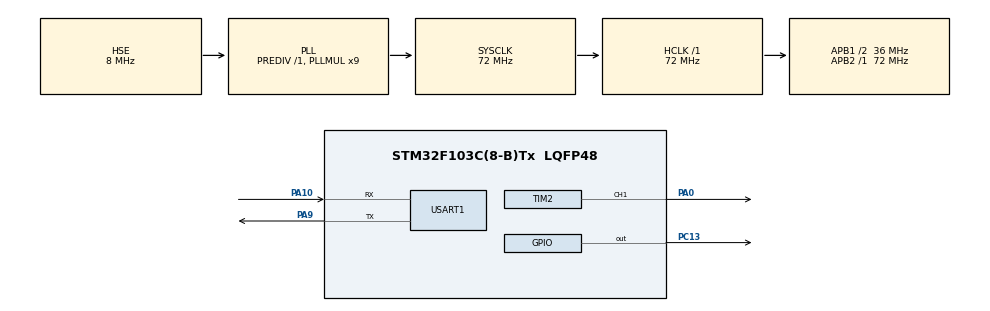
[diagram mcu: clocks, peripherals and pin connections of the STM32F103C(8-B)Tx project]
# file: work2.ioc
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Dma.Request0=USART1_RX
Dma.Request1=USART1_TX
Dma.USART1_RX.0.Direction=DMA_PERIPH_TO_MEMORY
Dma.USART1_RX.0.Instance=DMA1_Channel5
Dma.USART1_RX.0.MemDataAlignment=DMA_MDATAALIGN_BYTE
Dma.USART1_RX.0.MemInc=DMA_MINC_ENABLE
Dma.USART1_RX.0.Mode=DMA_NORMAL
Dma.USART1_RX.0.PeriphDataAlignment=DMA_PDATAALIGN_BYTE
Dma.USART1_RX.0.PeriphInc=DMA_PINC_DISABLE
Dma.USART1_RX.0.Priority=DMA_PRIORITY_LOW
Dma.USART1_TX.1.Direction=DMA_MEMORY_TO_PERIPH
Dma.USART1_TX.1.Instance=DMA1_Channel4
Dma.USART1_TX.1.MemDataAlignment=DMA_MDATAALIGN_BYTE
Dma.USART1_TX.1.MemInc=DMA_MINC_ENABLE
Dma.USART1_TX.1.Mode=DMA_NORMAL
Dma.USART1_TX.1.PeriphDataAlignment=DMA_PDATAALIGN_BYTE
Dma.USART1_TX.1.PeriphInc=DMA_PINC_DISABLE
Dma.USART1_TX.1.Priority=DMA_PRIORITY_LOW
Mcu.Family=STM32F1
Mcu.Name=STM32F103C(8-B)Tx
Mcu.Package=LQFP48
NVIC.DMA1_Channel4_IRQn=true\:0\:0\:false\:false\:true\:false\:true\:true
NVIC.DMA1_Channel5_IRQn=true\:0\:0\:false\:false\:true\:false\:true\:true
NVIC.PriorityGroup=NVIC_PRIORITYGROUP_4
NVIC.USART1_IRQn=true\:0\:0\:false\:false\:true\:false\:true\:true
PA0-WKUP.Signal=S_TIM2_CH1_ETR
PA10.Mode=Asynchronous
PA10.Signal=USART1_RX
PA13.Mode=Serial_Wire
PA13.Signal=SYS_JTMS-SWDIO
PA14.Mode=Serial_Wire
PA14.Signal=SYS_JTCK-SWCLK
PA9.Mode=Asynchronous
PA9.Signal=USART1_TX
PC13-TAMPER-RTC.Signal=GPIO_Output
PD0-OSC_IN.Mode=HSE-External-Oscillator
PD0-OSC_IN.Signal=RCC_OSC_IN
PD1-OSC_OUT.Mode=HSE-External-Oscillator
PD1-OSC_OUT.Signal=RCC_OSC_OUT
ProjectManager.HeapSize=0x200
ProjectManager.StackSize=0x400
ProjectManager.TargetToolchain=MDK-ARM V5.32
RCC.AHBFreq_Value=72000000
RCC.APB1CLKDivider=RCC_HCLK_DIV2
RCC.APB1Freq_Value=36000000
RCC.APB1TimFreq_Value=72000000
RCC.APB2Freq_Value=72000000
RCC.APB2TimFreq_Value=72000000
RCC.HCLKFreq_Value=72000000
RCC.PLLMUL=RCC_PLL_MUL9
RCC.PLLSourceVirtual=RCC_PLLSOURCE_HSE
RCC.SYSCLKFreq_VALUE=72000000
RCC.SYSCLKSource=RCC_SYSCLKSOURCE_PLLCLK
RCC.USBFreq_Value=72000000
SH.S_TIM2_CH1_ETR.0=TIM2_CH1,PWM Generation1 CH1
TIM2.Channel-PWM\ Generation1\ CH1=TIM_CHANNEL_1
TIM2.Period=20000
TIM2.Prescaler=71
TIM2.Pulse-PWM\ Generation1\ CH1=1500
USART1.VirtualMode=VM_ASYNC
board=custom

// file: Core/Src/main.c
/* USER CODE BEGIN Header */
/**
  ******************************************************************************
  * @file           : main.c
  * @brief          : Main program body
  ******************************************************************************
  * @attention
  *
  * Copyright (c) 2025 STMicroelectronics.
  * All rights reserved.
  *
  * This software is licensed under terms that can be found in the LICENSE file
  * in the root directory of this software component.
  * If no LICENSE file comes with this software, it is provided AS-IS.
  *
  ******************************************************************************
  */
/* USER CODE END Header */
#include "main.h"
#include "dma.h"
#include "tim.h"
#include "usart.h"
#include "gpio.h"

/* USER CODE BEGIN Includes */
#include <string.h>
#include <stdlib.h>
#include <stdint.h>
#include <stdio.h>
#include "Servo.h"
/* USER CODE END Includes */

/* USER CODE BEGIN PV */
uint8_t currentAngle = 0;
#define RX_LEN 7
uint8_t RxData[RX_LEN];
void Servo_SetAngle(uint8_t angle);
char msg[20];

#define TX_BUF_LEN 20
uint8_t TxData[TX_BUF_LEN];
uint8_t uart_tx_busy = 0;  // 串口DMA是否忙
/* USER CODE END PV */

void SystemClock_Config(void);

int main(void)
{

  /* MCU Configuration--------------------------------------------------------*/

  /* Reset of all peripherals, Initializes the Flash interface and the Systick. */
  HAL_Init();

  /* Configure the system clock */
  SystemClock_Config();

  /* Initialize all configured peripherals */
  MX_GPIO_Init();
  MX_DMA_Init();
  MX_USART1_UART_Init();
  MX_TIM2_Init();
  /* USER CODE BEGIN 2 */
	HAL_UART_Receive_DMA(&huart1, RxData, RX_LEN);
	HAL_TIM_PWM_Start(&htim2, TIM_CHANNEL_1);
  /* USER CODE END 2 */

  /* Infinite loop */
  /* USER CODE BEGIN WHILE */
  while (1)
  {

     if (uart_tx_busy == 0)
    {
        int len = sprintf((char*)TxData, "ANGLE:%d\r\n", currentAngle);
        uart_tx_busy = 1;  // 设置为忙，等发送完成后再清0
        HAL_UART_Transmit_DMA(&huart1, TxData, len);
    }

    HAL_Delay(100);  // 每100ms尝试发送

    /* USER CODE END WHILE */

  }
}

void SystemClock_Config(void)
{
  RCC_OscInitTypeDef RCC_OscInitStruct = {0};
  RCC_ClkInitTypeDef RCC_ClkInitStruct = {0};

  /** Initializes the RCC Oscillators according to the specified parameters
  * in the RCC_OscInitTypeDef structure.
  */
  RCC_OscInitStruct.OscillatorType = RCC_OSCILLATORTYPE_HSE;
  RCC_OscInitStruct.HSEState = RCC_HSE_ON;
  RCC_OscInitStruct.HSEPredivValue = RCC_HSE_PREDIV_DIV1;
  RCC_OscInitStruct.HSIState = RCC_HSI_ON;
  RCC_OscInitStruct.PLL.PLLState = RCC_PLL_ON;
  RCC_OscInitStruct.PLL.PLLSource = RCC_PLLSOURCE_HSE;
  RCC_OscInitStruct.PLL.PLLMUL = RCC_PLL_MUL9;
  if (HAL_RCC_OscConfig(&RCC_OscInitStruct) != HAL_OK)
  {
    Error_Handler();
  }

  /** Initializes the CPU, AHB and APB buses clocks
  */
  RCC_ClkInitStruct.ClockType = RCC_CLOCKTYPE_HCLK|RCC_CLOCKTYPE_SYSCLK
                              |RCC_CLOCKTYPE_PCLK1|RCC_CLOCKTYPE_PCLK2;
  RCC_ClkInitStruct.SYSCLKSource = RCC_SYSCLKSOURCE_PLLCLK;
  RCC_ClkInitStruct.AHBCLKDivider = RCC_SYSCLK_DIV1;
  RCC_ClkInitStruct.APB1CLKDivider = RCC_HCLK_DIV2;
  RCC_ClkInitStruct.APB2CLKDivider = RCC_HCLK_DIV1;

  if (HAL_RCC_ClockConfig(&RCC_ClkInitStruct, FLASH_LATENCY_2) != HAL_OK)
  {
    Error_Handler();
  }
}

void HAL_UART_RxCpltCallback(UART_HandleTypeDef *huart)
{
    if (huart == &huart1)
    {
        if (RxData[0] == 'A' && RxData[1] == 'N' && RxData[2] == 'G' && RxData[3] == ':')
        {
            char angleStr[4] = {0};  // 最多3位数字 + 结束符

            int idx = 0;
            for (int i = 4; i < RX_LEN; i++)
            {
                if (RxData[i] >= '0' && RxData[i] <= '9' && idx < 4)
                {
                    angleStr[idx++] = RxData[i];
                }
                else
                {
                    break;
                }
            }
            angleStr[idx] = '\0';  // 结尾

            int angle = atoi(angleStr);

            if (angle >= 0 && angle <= 180)
            {
                Servo_SetAngle((uint8_t)angle);
                HAL_UART_Transmit(&huart1, (uint8_t*)"CMD OK\r\n", 8, 100);
            }
            else
            {
                HAL_UART_Transmit(&huart1, (uint8_t*)"ERR ANG\r\n", 9, 100);
            }
        }
        else
        {
            HAL_UART_Transmit(&huart1, (uint8_t*)"UNK CMD\r\n", 10, 100);
        }

        HAL_UART_Receive_DMA(&huart1, RxData, RX_LEN);  // 重新启动接收
    }
}
void HAL_UART_TxCpltCallback(UART_HandleTypeDef *huart)
{
    if (huart == &huart1)
    {
        uart_tx_busy = 0;  // 发送完成，允许下一次发送
    }
}
/* USER CODE END 4 */

void Error_Handler(void)
{
  __disable_irq();
  while (1)
  {
  }
}
